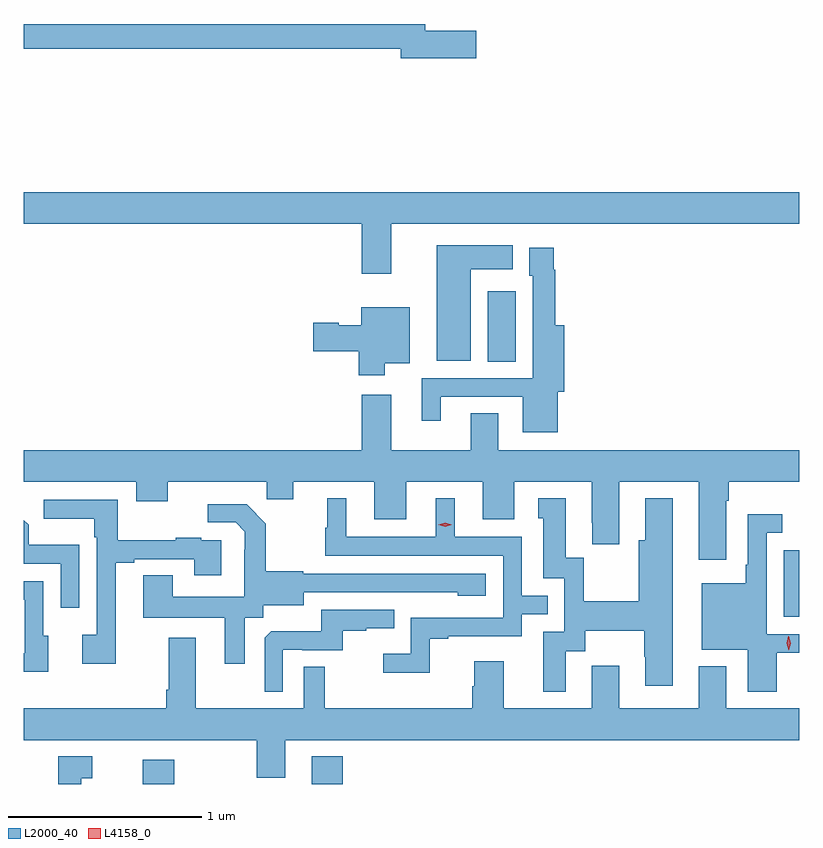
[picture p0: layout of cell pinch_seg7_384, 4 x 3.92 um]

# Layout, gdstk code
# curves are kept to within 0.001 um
import gdstk
lib = gdstk.Library(unit=1e-6, precision=1e-09)
def R(c, l, rs):  # rectangles x0, y0, x1, y1
    for r in rs: c.add(gdstk.rectangle(r[:2], r[2:], *l))
def P(c, l, *ps):  # polygons
    for p in ps: c.add(gdstk.Polygon(p, *l))
L2000_40 = (2000, 40)
L4158_0 = (4158, 0)

pinch_seg7_384 = lib.new_cell('pinch_seg7_384')
R(pinch_seg7_384, L2000_40, [(549.626,1035.021,549.79,1035.145), (550.499,1035.021,550.66,1035.163), (552.935,1035.884,553.014,1036.228), (551.408,1037.2,551.551,1037.563)])
P(pinch_seg7_384, L2000_40, [(551.347,1038.909),(551.086,1038.909),(551.086,1038.943),(549.014,1038.943),(549.014,1038.814),(550.958,1038.814),(550.958,1038.767),(551.347,1038.767)],
  [(550.909,1037.912),(553.014,1037.912),(553.014,1038.076),(549.014,1038.076),(549.014,1037.912),(550.757,1037.912),(550.757,1037.655),(550.909,1037.655)],
  [(551.32,1037.678),(551.536,1037.678),(551.536,1037.8),(551.144,1037.8),(551.144,1037.204),(551.32,1037.204)],
  [(551.77,1037.045),(551.803,1037.045),(551.803,1037.389),(551.756,1037.389),(551.756,1037.675),(551.749,1037.675),(551.749,1037.788),(551.621,1037.788),(551.621,1037.643),(551.64,1037.643),(551.64,1037.115),(551.066,1037.115),(551.066,1036.896),(551.164,1036.896),(551.164,1037.019),(551.588,1037.019),(551.588,1036.835),(551.77,1036.835)],
  [(550.876,1037.192),(551.005,1037.192),(551.005,1037.482),(550.754,1037.482),(550.754,1037.389),(550.638,1037.389),(550.638,1037.402),(550.506,1037.402),(550.506,1037.255),(550.742,1037.255),(550.742,1037.13),(550.876,1037.13)],
  [(552.637,1036.484),(552.65,1036.484),(552.65,1036.58),(553.014,1036.58),(553.014,1036.744),(551.461,1036.744),(551.461,1036.934),(551.321,1036.934),(551.321,1036.744),(550.909,1036.744),(550.909,1037.029),(550.757,1037.029),(550.757,1036.744),(549.014,1036.744),(549.014,1036.58),(549.593,1036.58),(549.593,1036.481),(549.757,1036.481),(549.757,1036.58),(550.267,1036.58),(550.267,1036.49),(550.405,1036.49),(550.405,1036.58),(550.823,1036.58),(550.823,1036.386),(550.987,1036.386),(550.987,1036.58),(551.381,1036.58),(551.381,1036.386),(551.545,1036.386),(551.545,1036.58),(551.945,1036.58),(551.945,1036.369),(551.947,1036.369),(551.947,1036.257),(552.085,1036.257),(552.085,1036.58),(552.497,1036.58),(552.497,1036.179),(552.637,1036.179)],
  [(551.109,1035.771),(551.203,1035.771),(551.203,1035.783),(551.583,1035.783),(551.583,1035.897),(551.717,1035.897),(551.717,1035.993),(551.583,1035.993),(551.583,1036.296),(551.236,1036.296),(551.236,1036.495),(551.138,1036.495),(551.138,1036.296),(550.678,1036.296),(550.678,1036.495),(550.58,1036.495),(550.58,1036.344),(550.569,1036.344),(550.569,1036.2),(551.487,1036.2),(551.487,1035.879),(551.01,1035.879),(551.01,1035.694),(550.869,1035.694),(550.869,1035.596),(551.109,1035.596)],
  [(551.809,1035.706),(551.911,1035.706),(551.911,1035.812),(552.214,1035.812),(552.214,1035.678),(552.221,1035.678),(552.221,1035.528),(552.361,1035.528),(552.361,1036.495),(552.221,1036.495),(552.221,1036.279),(552.188,1036.279),(552.188,1035.964),(551.902,1035.964),(551.902,1036.189),(551.809,1036.189),(551.809,1036.495),(551.669,1036.495),(551.669,1036.392),(551.693,1036.392),(551.693,1036.083),(551.802,1036.083),(551.802,1035.807),(551.693,1035.807),(551.693,1035.498),(551.809,1035.498)],
  [(549.487,1036.164),(549.583,1036.164),(549.583,1036.182),(549.893,1036.182),(549.893,1036.098),(550.033,1036.098),(550.033,1036.278),(549.929,1036.278),(549.929,1036.291),(549.797,1036.291),(549.797,1036.28),(549.499,1036.28),(549.499,1036.488),(549.117,1036.488),(549.117,1036.391),(549.378,1036.391),(549.378,1036.295),(549.39,1036.295),(549.39,1035.79),(549.315,1035.79),(549.315,1035.642),(549.487,1035.642)],
  [(550.153,1035.88),(550.248,1035.88),(550.248,1035.944),(550.459,1035.944),(550.459,1036.011),(551.253,1036.01),(551.253,1035.992),(551.398,1035.992),(551.398,1036.107),(550.455,1036.107),(550.455,1036.12),(550.263,1036.12),(550.263,1036.365),(550.163,1036.465),(549.963,1036.465),(549.963,1036.371),(550.107,1036.371),(550.154,1036.324),(550.154,1036.229),(550.152,1036.229),(550.152,1035.988),(549.781,1035.988),(549.781,1036.097),(549.629,1036.097),(549.629,1035.878),(550.049,1035.878),(550.049,1035.642),(550.153,1035.642)],
  [(552.898,1035.699),(553.014,1035.699),(553.014,1035.795),(552.846,1035.795),(552.846,1036.317),(552.928,1036.317),(552.928,1036.414),(552.75,1036.414),(552.75,1036.153),(552.738,1036.153),(552.738,1036.057),(552.512,1036.057),(552.512,1035.713),(552.749,1035.713),(552.749,1035.498),(552.898,1035.498)],
  [(549.3,1036.255),(549.039,1036.255),(549.039,1036.358),(549.014,1036.383),(549.014,1036.158),(549.204,1036.158),(549.204,1035.93),(549.3,1035.93)],
  [(549.139,1035.786),(549.114,1035.786),(549.114,1036.068),(549.014,1036.068),(549.014,1035.972),(549.018,1035.972),(549.018,1035.696),(549.014,1035.696),(549.014,1035.599),(549.139,1035.599)],
  [(550.35,1035.714),(550.45,1035.714),(550.45,1035.711),(550.658,1035.711),(550.658,1035.813),(550.781,1035.813),(550.781,1035.824),(550.925,1035.824),(550.925,1035.921),(550.548,1035.921),(550.548,1035.809),(550.289,1035.809),(550.257,1035.777),(550.257,1035.497),(550.35,1035.497)],
  [(549.761,1035.775),(549.761,1035.508),(549.749,1035.508),(549.749,1035.412),(549.014,1035.412),(549.014,1035.248),(550.216,1035.248),(550.216,1035.054),(550.363,1035.054),(550.363,1035.248),(553.014,1035.248),(553.014,1035.412),(552.637,1035.412),(552.637,1035.628),(552.497,1035.628),(552.497,1035.412),(552.085,1035.412),(552.085,1035.631),(551.945,1035.631),(551.945,1035.412),(551.491,1035.412),(551.491,1035.655),(551.339,1035.655),(551.339,1035.525),(551.327,1035.525),(551.327,1035.412),(550.567,1035.412),(550.567,1035.626),(550.458,1035.626),(550.458,1035.412),(549.901,1035.412),(549.901,1035.775)],
  [(549.31,1035.05),(549.367,1035.05),(549.367,1035.163),(549.19,1035.163),(549.19,1035.021),(549.31,1035.021)])
P(pinch_seg7_384, L4158_0, [(552.962,1035.712),(552.962,1035.712),(552.951,1035.747),(552.959,1035.783),(552.96,1035.783),(552.96,1035.783),(552.971,1035.748),(552.962,1035.712)],
  [(551.187,1036.349),(551.151,1036.36),(551.151,1036.36),(551.151,1036.36),(551.187,1036.369),(551.223,1036.358),(551.223,1036.358),(551.223,1036.358)])

lib.write_gds('pinch_seg7_384.gds')
